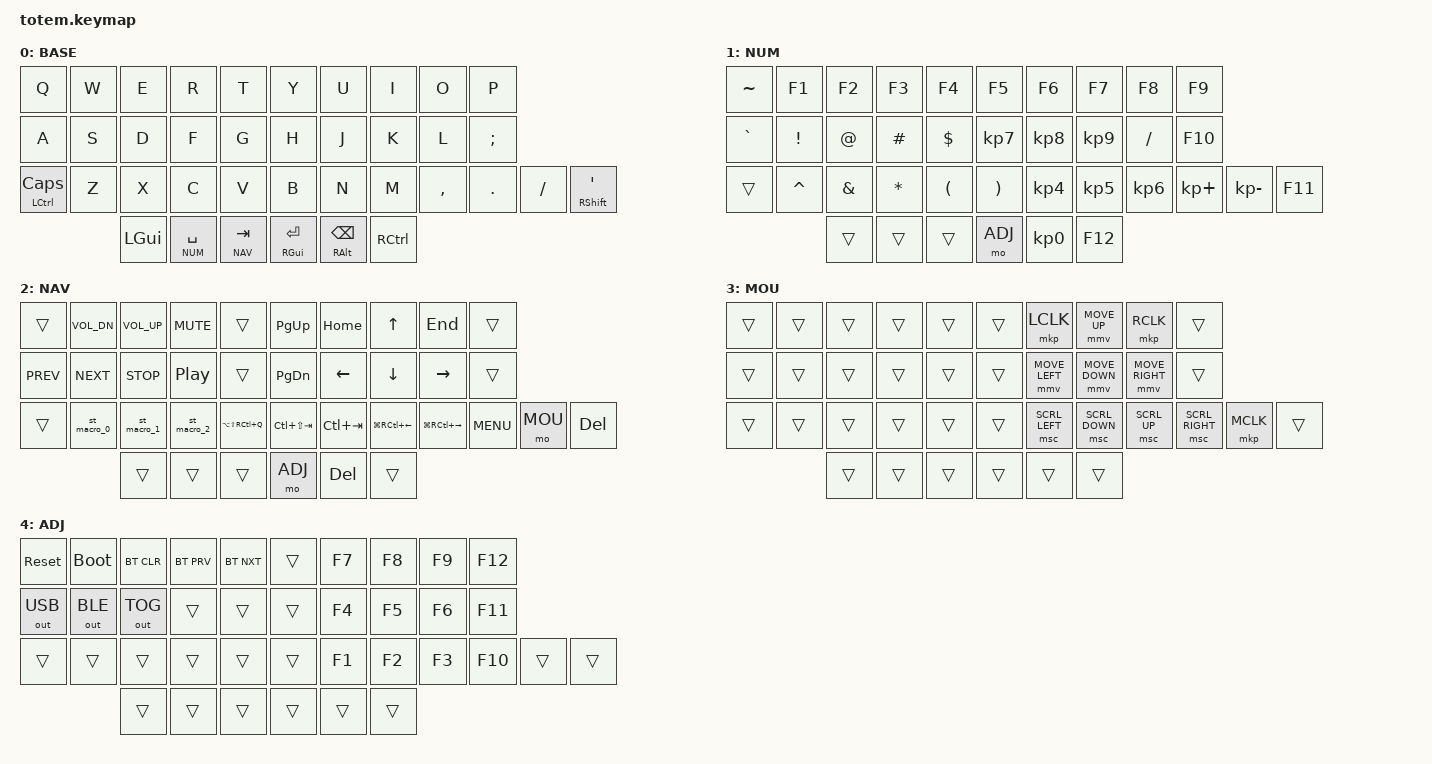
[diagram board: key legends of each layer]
#include <behaviors.dtsi>
#include <dt-bindings/zmk/keys.h>
#include <dt-bindings/zmk/bt.h>
#include <dt-bindings/zmk/outputs.h>
#include <dt-bindings/zmk/pointing.h>

#define BASE 0
#define NUM  1
#define NAV  2
#define MOU  3
#define ADJ  4

&mt {
  quick-tap-ms = <100>;
  global-quick-tap;
  flavor = "tap-preferred";
  tapping-term-ms = <170>;
};

/ {
    macros {
        st_macro_0: st_macro_0 {
            label = "st_macro_0";
            compatible = "zmk,behavior-macro";
            #binding-cells = <0>;
            bindings = <&macro_tap &kp LA(LG(X))>;
        };

        st_macro_1: st_macro_1 {
            label = "st_macro_1";
            compatible = "zmk,behavior-macro";
            #binding-cells = <0>;
            bindings = <&macro_tap &kp LA(LG(C))>;
        };

        st_macro_2: st_macro_2 {
            label = "st_macro_2";
            compatible = "zmk,behavior-macro";
            #binding-cells = <0>;
            bindings = <&macro_tap &kp LC(LS(RA(LGUI)))>;
        };
    };

    keymap {
        compatible = "zmk,keymap";

        base_layer {
            label = "BASE";
            bindings = <
                &kp Q               &kp W               &kp E               &kp R               &kp T               &kp Y               &kp U               &kp I               &kp O               &kp P
                &kp A               &kp S               &kp D               &kp F               &kp G               &kp H               &kp J               &kp K               &kp L               &kp SEMI
                &mt LCTRL CAPS      &kp Z               &kp X               &kp C               &kp V               &kp B               &kp N               &kp M               &kp COMMA           &kp DOT             &kp FSLH            &mt RSHFT SQT
                                                        &kp LGUI            &lt NUM SPACE        &lt NAV TAB          &mt RGUI RET        &mt RALT BSPC       &kp RCTRL
            >;
        };

        num_layer {
            label = "NUM";
            bindings = <
                &kp TILDE           &kp F1              &kp F2              &kp F3              &kp F4              &kp F5              &kp F6              &kp F7              &kp F8              &kp F9
                &kp GRAVE           &kp EXCL            &kp AT              &kp HASH            &kp DLLR            &kp KP_N7           &kp KP_N8           &kp KP_N9           &kp FSLH            &kp F10
                &trans              &kp CARET           &kp AMPS            &kp ASTRK           &kp LPAR            &kp RPAR            &kp KP_N4           &kp KP_N5           &kp KP_N6           &kp KP_PLUS         &kp KP_MINUS        &kp F11
                                                        &trans              &trans              &trans              &mo ADJ             &kp KP_N0           &kp F12
            >;
        };

        nav_layer {
            label = "NAV";
            bindings = <
                &trans              &kp C_VOL_DN        &kp C_VOL_UP        &kp C_MUTE          &trans              &kp PG_UP           &kp HOME            &kp UP              &kp END             &trans
                &kp C_PREV          &kp C_NEXT          &kp C_STOP          &kp C_PP            &trans              &kp PG_DN           &kp LEFT            &kp DOWN            &kp RIGHT           &trans
                &trans              &st_macro_0         &st_macro_1         &st_macro_2         &kp LA(LS(RC(Q)))  &kp LC(LS(TAB))    &kp LC(TAB)         &kp LG(RC(LEFT))    &kp LG(RC(RIGHT))   &kp K_MENU          &mo MOU             &kp DEL
                                                        &trans              &trans              &trans              &mo ADJ             &kp DEL             &trans
            >;
        };

        mou_layer {
            label = "MOU";
            bindings = <
                &trans              &trans              &trans              &trans              &trans              &trans              &mkp LCLK           &mmv MOVE_UP        &mkp RCLK           &trans
                &trans              &trans              &trans              &trans              &trans              &trans              &mmv MOVE_LEFT      &mmv MOVE_DOWN      &mmv MOVE_RIGHT     &trans
                &trans              &trans              &trans              &trans              &trans              &trans              &msc SCRL_LEFT      &msc SCRL_DOWN      &msc SCRL_UP        &msc SCRL_RIGHT     &mkp MCLK           &trans
                                                        &trans              &trans              &trans              &trans              &trans              &trans
            >;
        };

        adjust_layer {
            label = "ADJ";
            bindings = <
                &sys_reset          &bootloader         &bt BT_CLR          &bt BT_PRV          &bt BT_NXT          &trans      &kp F7              &kp F8              &kp F9              &kp F12
                &out OUT_USB        &out OUT_BLE        &out OUT_TOG        &trans              &trans              &trans              &kp F4              &kp F5              &kp F6              &kp F11
                &trans              &trans              &trans              &trans              &trans              &trans              &kp F1              &kp F2              &kp F3              &kp F10             &trans              &trans
                                                        &trans              &trans              &trans              &trans              &trans              &trans
            >;
        };
    };
};
